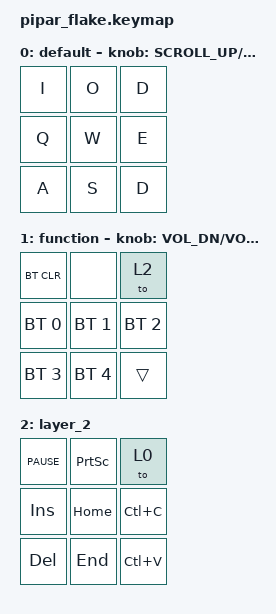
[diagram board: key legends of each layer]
/*
 * Copyright (c) 2022 The ZMK Contributors
 *
 * SPDX-License-Identifier: MIT
 */

#include <behaviors.dtsi>
#include <dt-bindings/zmk/bt.h>
#include <dt-bindings/zmk/keys.h>

#define BASE        0
#define FUNC        1

/ {
    sensors: sensors {
        compatible = "zmk,keymap-sensors";
        sensors = <&encoder_1>;
        triggers-per-rotation = <24>;
    };

    macros {
        new_macro: new_macro {
            compatible = "zmk,behavior-macro";
            #binding-cells = <0>;
            bindings = <&none>;
            label = "NEW_MACRO";
        };
    };

    keymap {
        compatible = "zmk,keymap";

        bi777 {
            // ---------------------------//
            // | Q    | W     | ENCODER | //
            // | A    | S     | D       | //
            // | Z    | X     | FN      | //

            display-name = "default";
            bindings = <
&kp I  &kp O  &kp D
&kp Q  &kp W  &kp E
&kp A  &kp S  &kp D
            >;

            sensor-bindings = <&inc_dec_kp K_SCROLL_UP K_SCROLL_DOWN>;
            label = "piparlake";
        };

        function_layer {
            // --------------------------- //
            // | BT_CLR | none | ENCODER | //
            // | BT_0   | BT_1 | BT_2    | //
            // | BT_3   | BT_4 | trans   | //

            display-name = "function";
            bindings = <
&bt BT_CLR    &none         &to 2
&bt BT_SEL 0  &bt BT_SEL 1  &bt BT_SEL 2
&bt BT_SEL 3  &bt BT_SEL 4  &trans
            >;

            sensor-bindings = <&inc_dec_kp C_VOL_DN C_VOL_UP>;
        };

        layer_2 {
            bindings = <
&kp C_PAUSE  &kp PRINTSCREEN  &to 0
&kp INS      &kp HOME         &kp LC(C)
&kp DELETE   &kp END          &kp LC(V)
            >;
        };
    };
};
